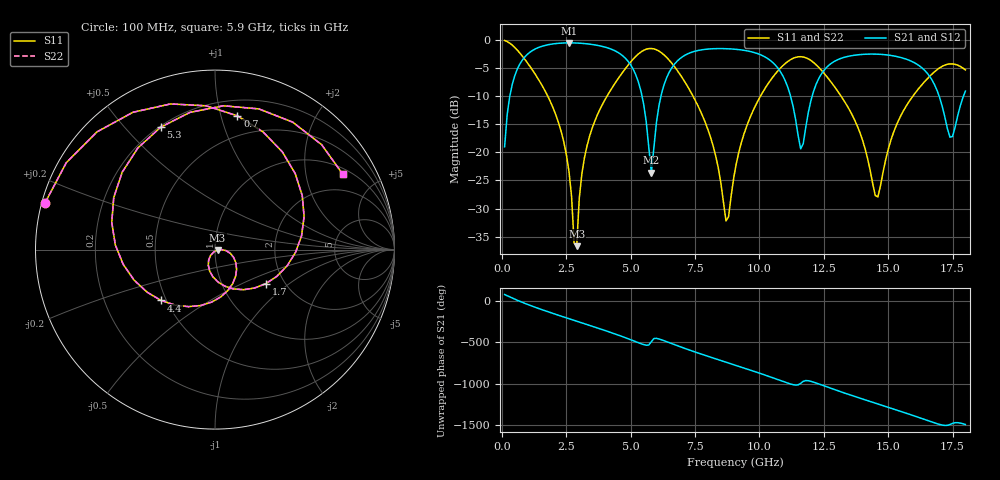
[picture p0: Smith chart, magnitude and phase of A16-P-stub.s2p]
! yapnr rf coupon A: A16 STUB SHORT (stub, family P)
! stackup JLC04161H-7628, nominal parameters; reference planes 10 mm from each end; 50 ohm (renormalized from the line's Zc)
! model: 2D quasi-static RLGC (Djordjevic-Sarkar, Huray roughness, Wheeler loss); generated by python -m yapnr.rf.coupons expected
# GHz S DB R 50
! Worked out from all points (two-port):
!   180 points, 100 MHz to 18 GHz, reference 50 ohm
!   highest |S21| = -0.58 dB at 2.6 GHz (marker M1); lowest = -23.6 dB at 5.8 GHz (marker M2)
!   |S21| within 3 dB of the highest: 797.7 MHz to 4.844 GHz (4.046 GHz wide, 143 % of centre); 6.862 GHz to 10.39 GHz (3.525 GHz wide, 40.9 % of centre)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
!   lowest |S11| = -36.7 dB at 2.9 GHz (marker M3), VSWR 1.03, Z = 51.5 - j0.271 ohm
!   |S11| at or under -10 dB: 1.771 GHz to 4.083 GHz (2.312 GHz wide, 79 % of centre); 7.415 GHz to 10.04 GHz (2.629 GHz wide, 30.1 % of centre); 13.17 GHz to 15.96 GHz (2.798 GHz wide, 19.2 % of centre)
!   |S22| runs from -36.7 to -0.2 dB; largest |S21 - S12| = 0
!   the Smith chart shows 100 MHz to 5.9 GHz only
!   S11 on the Smith chart (normalised r, x): 100 MHz: 0.01, +0.14; 700 MHz: 0.32, +1.13; 1.7 GHz: 1.61, -0.69; 4.4 GHz: 0.47, -0.32; 5.3 GHz: 0.21, +0.63; 5.9 GHz: 1.22, +3.24
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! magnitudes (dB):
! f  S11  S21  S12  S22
! 100 MHz  -0.2  -19.0  -19.0  -0.2
! 700 MHz  -2.4  -4.3  -4.3  -2.4
! 1.7 GHz  -9.4  -1.0  -1.0  -9.4
! 2.6 GHz  -23.4  -0.6  -0.6  -23.4
! 2.9 GHz  -36.7  -0.6  -0.6  -36.7
! 3.1 GHz  -23.9  -0.7  -0.7  -23.9
! 4.4 GHz  -7.7  -2.0  -2.0  -7.7
! 5.3 GHz  -2.5  -7.6  -7.6  -2.5
! 5.8 GHz  -1.6  -23.6  -23.6  -1.6
! 5.9 GHz  -1.7  -19.1  -19.1  -1.7
! 6.1 GHz  -2.1  -11.6  -11.6  -2.1
! 7.9 GHz  -14.8  -1.7  -1.7  -14.8
! 8.7 GHz  -32.2  -1.6  -1.6  -32.2
! 9.1 GHz  -22.0  -1.7  -1.7  -22.0
! 10.8 GHz  -5.1  -5.6  -5.6  -5.1
! 11.6 GHz  -3.0  -19.4  -19.4  -3.0
! 12.1 GHz  -4.1  -9.2  -9.2  -4.1
! 14.5 GHz  -27.7  -2.6  -2.6  -27.7
! 15.1 GHz  -17.9  -2.8  -2.8  -17.9
! 16.6 GHz  -6.6  -6.5  -6.5  -6.6
! 17.4 GHz  -4.3  -17.3  -17.3  -4.3
! 18 GHz  -5.4  -9.1  -9.1  -5.4
